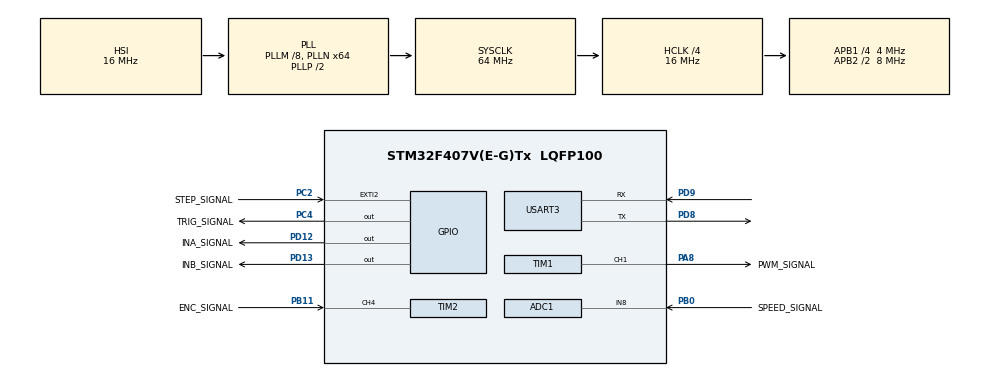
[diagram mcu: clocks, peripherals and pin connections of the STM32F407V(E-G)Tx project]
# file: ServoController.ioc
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ADC1.Channel-0\#ChannelRegularConversion=ADC_CHANNEL_8
ADC1.NbrOfConversionFlag=1
ADC1.Rank-0\#ChannelRegularConversion=1
ADC1.SamplingTime-0\#ChannelRegularConversion=ADC_SAMPLETIME_3CYCLES
ADC1.master=1
Mcu.Family=STM32F4
Mcu.Name=STM32F407V(E-G)Tx
Mcu.Package=LQFP100
NVIC.EXTI2_IRQn=true\:0\:0\:false\:false\:true\:true\:true
NVIC.PriorityGroup=NVIC_PRIORITYGROUP_4
NVIC.TIM2_IRQn=true\:0\:0\:false\:false\:true\:true\:true
NVIC.TIM4_IRQn=true\:0\:0\:false\:false\:true\:true\:true
NVIC.USART3_IRQn=true\:0\:0\:false\:false\:true\:true\:true
PA13.Mode=Serial_Wire
PA13.Signal=SYS_JTMS-SWDIO
PA14.Mode=Serial_Wire
PA14.Signal=SYS_JTCK-SWCLK
PA8.GPIO_Label=PWM_SIGNAL
PA8.Signal=S_TIM1_CH1
PB0.GPIO_Label=SPEED_SIGNAL
PB0.Signal=ADCx_IN8
PB11.GPIO_Label=ENC_SIGNAL
PB11.Signal=S_TIM2_CH4
PC2.GPIO_Label=STEP_SIGNAL
PC2.Signal=GPXTI2
PC4.GPIO_Label=TRIG_SIGNAL
PC4.Signal=GPIO_Output
PD12.GPIO_Label=INA_SIGNAL
PD12.Signal=GPIO_Output
PD13.GPIO_Label=INB_SIGNAL
PD13.Signal=GPIO_Output
PD8.Mode=Asynchronous
PD8.Signal=USART3_TX
PD9.Mode=Asynchronous
PD9.Signal=USART3_RX
ProjectManager.HeapSize=0x200
ProjectManager.StackSize=0x400
ProjectManager.TargetToolchain=MDK-ARM V5
RCC.48MHZClocksFreq_Value=32000000
RCC.AHBCLKDivider=RCC_SYSCLK_DIV4
RCC.AHBFreq_Value=16000000
RCC.APB1CLKDivider=RCC_HCLK_DIV4
RCC.APB1Freq_Value=4000000
RCC.APB1TimFreq_Value=8000000
RCC.APB2CLKDivider=RCC_HCLK_DIV2
RCC.APB2Freq_Value=8000000
RCC.APB2TimFreq_Value=16000000
RCC.CortexFreq_Value=16000000
RCC.HCLKFreq_Value=16000000
RCC.HSE_VALUE=25000000
RCC.HSI_VALUE=16000000
RCC.LSE_VALUE=32768
RCC.PLLM=8
RCC.PLLN=64
RCC.SYSCLKFreq_VALUE=64000000
RCC.SYSCLKSource=RCC_SYSCLKSOURCE_PLLCLK
RCC.VCOOutputFreq_Value=128000000
SH.ADCx_IN8.0=ADC1_IN8,IN8
SH.S_TIM1_CH1.0=TIM1_CH1,PWM Generation1 CH1
SH.S_TIM2_CH4.0=TIM2_CH4,Input_Capture4_from_TI4
TIM1.Channel-PWM\ Generation1\ CH1=TIM_CHANNEL_1
TIM1.Period=999
TIM1.Prescaler=15
TIM2.Channel-Input_Capture4_from_TI4=TIM_CHANNEL_4
TIM2.Period=65535
TIM2.Prescaler=7
TIM4.AutoReloadPreload=TIM_AUTORELOAD_PRELOAD_ENABLE
TIM4.Period=99
TIM4.Prescaler=7999
TIM4.TIM_MasterOutputTrigger=TIM_TRGO_RESET
USART3.VirtualMode=VM_ASYNC
VP_TIM1_VS_ClockSourceINT.Mode=Internal
VP_TIM2_VS_ClockSourceINT.Mode=Internal
VP_TIM4_VS_ClockSourceINT.Mode=Internal
board=custom

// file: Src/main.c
/* USER CODE BEGIN Header */
/**
  ******************************************************************************
  * @file           : main.c
  * @brief          : Main program body
  ******************************************************************************
  * @attention
  *
  * <h2><center>&copy; Copyright (c) 2019 STMicroelectronics.
  * All rights reserved.</center></h2>
  *
  * This software component is licensed by ST under BSD 3-Clause license,
  * the "License"; You may not use this file except in compliance with the
  * License. You may obtain a copy of the License at:
  *                        opensource.org/licenses/BSD-3-Clause
  *
  ******************************************************************************
  */
/* USER CODE END Header */

#include "main.h"

/* USER CODE BEGIN Includes */
#include <stdio.h>
/* USER CODE END Includes */

ADC_HandleTypeDef hadc1;

TIM_HandleTypeDef htim1;
TIM_HandleTypeDef htim2;
TIM_HandleTypeDef htim4;

UART_HandleTypeDef huart3;

/* USER CODE BEGIN PV */
int Position_Target = 0;
int Position_Current = 0;
int Step_Status = 0;
int Speed_Value = 0;
/* USER CODE END PV */

void SystemClock_Config(void);
static void MX_GPIO_Init(void);
static void MX_ADC1_Init(void);
static void MX_TIM1_Init(void);
static void MX_USART3_UART_Init(void);
static void MX_TIM2_Init(void);
static void MX_TIM4_Init(void);

/* USER CODE BEGIN 0 */
int fputc(int ch, FILE *f)
{
  return ITM_SendChar(ch);
}
/* USER CODE END 0 */

int main(void)
{

  /* MCU Configuration--------------------------------------------------------*/

  /* Reset of all peripherals, Initializes the Flash interface and the Systick. */
  HAL_Init();

  /* Configure the system clock */
  SystemClock_Config();

  /* Initialize all configured peripherals */
  MX_GPIO_Init();
  MX_ADC1_Init();
  MX_TIM1_Init();
  MX_USART3_UART_Init();
  MX_TIM2_Init();
  MX_TIM4_Init();
  /* USER CODE BEGIN 2 */
  HAL_TIM_Base_Start(&htim1);
  HAL_TIM_PWM_Stop(&htim1,TIM_CHANNEL_1);
  HAL_TIM_Base_Start(&htim2);
  HAL_TIM_IC_Start_IT(&htim2, TIM_CHANNEL_4);
  __HAL_UART_ENABLE_IT(&huart3, UART_IT_RXNE);
  /* USER CODE END 2 */

  /* Infinite loop */
  while (1)
  {

    /* USER CODE BEGIN 3 */
    Event_t evt = NONE_EVT;
    if (Step_Status != 0) {
      evt = STEP_EVT;
      Step_Status = 0;
    }
    Ctrler_Exec(evt);
    HAL_Delay(100);
  }
  /* USER CODE END 3 */
}

void SystemClock_Config(void)
{
  RCC_OscInitTypeDef RCC_OscInitStruct = {0};
  RCC_ClkInitTypeDef RCC_ClkInitStruct = {0};

  /** Configure the main internal regulator output voltage
  */
  __HAL_RCC_PWR_CLK_ENABLE();
  __HAL_PWR_VOLTAGESCALING_CONFIG(PWR_REGULATOR_VOLTAGE_SCALE1);
  /** Initializes the CPU, AHB and APB busses clocks
  */
  RCC_OscInitStruct.OscillatorType = RCC_OSCILLATORTYPE_HSI;
  RCC_OscInitStruct.HSIState = RCC_HSI_ON;
  RCC_OscInitStruct.HSICalibrationValue = RCC_HSICALIBRATION_DEFAULT;
  RCC_OscInitStruct.PLL.PLLState = RCC_PLL_ON;
  RCC_OscInitStruct.PLL.PLLSource = RCC_PLLSOURCE_HSI;
  RCC_OscInitStruct.PLL.PLLM = 8;
  RCC_OscInitStruct.PLL.PLLN = 64;
  RCC_OscInitStruct.PLL.PLLP = RCC_PLLP_DIV2;
  RCC_OscInitStruct.PLL.PLLQ = 4;
  if (HAL_RCC_OscConfig(&RCC_OscInitStruct) != HAL_OK)
  {
    Error_Handler();
  }
  /** Initializes the CPU, AHB and APB busses clocks
  */
  RCC_ClkInitStruct.ClockType = RCC_CLOCKTYPE_HCLK|RCC_CLOCKTYPE_SYSCLK
                              |RCC_CLOCKTYPE_PCLK1|RCC_CLOCKTYPE_PCLK2;
  RCC_ClkInitStruct.SYSCLKSource = RCC_SYSCLKSOURCE_PLLCLK;
  RCC_ClkInitStruct.AHBCLKDivider = RCC_SYSCLK_DIV4;
  RCC_ClkInitStruct.APB1CLKDivider = RCC_HCLK_DIV4;
  RCC_ClkInitStruct.APB2CLKDivider = RCC_HCLK_DIV2;

  if (HAL_RCC_ClockConfig(&RCC_ClkInitStruct, FLASH_LATENCY_0) != HAL_OK)
  {
    Error_Handler();
  }
}

static void MX_ADC1_Init(void)
{

  ADC_ChannelConfTypeDef sConfig = {0};

  /** Configure the global features of the ADC (Clock, Resolution, Data Alignment and number of conversion)
  */
  hadc1.Instance = ADC1;
  hadc1.Init.ClockPrescaler = ADC_CLOCK_SYNC_PCLK_DIV2;
  hadc1.Init.Resolution = ADC_RESOLUTION_12B;
  hadc1.Init.ScanConvMode = DISABLE;
  hadc1.Init.ContinuousConvMode = DISABLE;
  hadc1.Init.DiscontinuousConvMode = DISABLE;
  hadc1.Init.ExternalTrigConvEdge = ADC_EXTERNALTRIGCONVEDGE_NONE;
  hadc1.Init.ExternalTrigConv = ADC_SOFTWARE_START;
  hadc1.Init.DataAlign = ADC_DATAALIGN_RIGHT;
  hadc1.Init.NbrOfConversion = 1;
  hadc1.Init.DMAContinuousRequests = DISABLE;
  hadc1.Init.EOCSelection = ADC_EOC_SINGLE_CONV;
  if (HAL_ADC_Init(&hadc1) != HAL_OK)
  {
    Error_Handler();
  }
  /** Configure for the selected ADC regular channel its corresponding rank in the sequencer and its sample time.
  */
  sConfig.Channel = ADC_CHANNEL_8;
  sConfig.Rank = 1;
  sConfig.SamplingTime = ADC_SAMPLETIME_3CYCLES;
  if (HAL_ADC_ConfigChannel(&hadc1, &sConfig) != HAL_OK)
  {
    Error_Handler();
  }

}

static void MX_TIM1_Init(void)
{

  TIM_ClockConfigTypeDef sClockSourceConfig = {0};
  TIM_MasterConfigTypeDef sMasterConfig = {0};
  TIM_OC_InitTypeDef sConfigOC = {0};
  TIM_BreakDeadTimeConfigTypeDef sBreakDeadTimeConfig = {0};

  htim1.Instance = TIM1;
  htim1.Init.Prescaler = 15;
  htim1.Init.CounterMode = TIM_COUNTERMODE_UP;
  htim1.Init.Period = 999;
  htim1.Init.ClockDivision = TIM_CLOCKDIVISION_DIV1;
  htim1.Init.RepetitionCounter = 0;
  htim1.Init.AutoReloadPreload = TIM_AUTORELOAD_PRELOAD_DISABLE;
  if (HAL_TIM_Base_Init(&htim1) != HAL_OK)
  {
    Error_Handler();
  }
  sClockSourceConfig.ClockSource = TIM_CLOCKSOURCE_INTERNAL;
  if (HAL_TIM_ConfigClockSource(&htim1, &sClockSourceConfig) != HAL_OK)
  {
    Error_Handler();
  }
  if (HAL_TIM_PWM_Init(&htim1) != HAL_OK)
  {
    Error_Handler();
  }
  sMasterConfig.MasterOutputTrigger = TIM_TRGO_RESET;
  sMasterConfig.MasterSlaveMode = TIM_MASTERSLAVEMODE_DISABLE;
  if (HAL_TIMEx_MasterConfigSynchronization(&htim1, &sMasterConfig) != HAL_OK)
  {
    Error_Handler();
  }
  sConfigOC.OCMode = TIM_OCMODE_PWM1;
  sConfigOC.Pulse = 0;
  sConfigOC.OCPolarity = TIM_OCPOLARITY_HIGH;
  sConfigOC.OCNPolarity = TIM_OCNPOLARITY_HIGH;
  sConfigOC.OCFastMode = TIM_OCFAST_DISABLE;
  sConfigOC.OCIdleState = TIM_OCIDLESTATE_RESET;
  sConfigOC.OCNIdleState = TIM_OCNIDLESTATE_RESET;
  if (HAL_TIM_PWM_ConfigChannel(&htim1, &sConfigOC, TIM_CHANNEL_1) != HAL_OK)
  {
    Error_Handler();
  }
  sBreakDeadTimeConfig.OffStateRunMode = TIM_OSSR_DISABLE;
  sBreakDeadTimeConfig.OffStateIDLEMode = TIM_OSSI_DISABLE;
  sBreakDeadTimeConfig.LockLevel = TIM_LOCKLEVEL_OFF;
  sBreakDeadTimeConfig.DeadTime = 0;
  sBreakDeadTimeConfig.BreakState = TIM_BREAK_DISABLE;
  sBreakDeadTimeConfig.BreakPolarity = TIM_BREAKPOLARITY_HIGH;
  sBreakDeadTimeConfig.AutomaticOutput = TIM_AUTOMATICOUTPUT_DISABLE;
  if (HAL_TIMEx_ConfigBreakDeadTime(&htim1, &sBreakDeadTimeConfig) != HAL_OK)
  {
    Error_Handler();
  }
  HAL_TIM_MspPostInit(&htim1);

}

static void MX_TIM2_Init(void)
{

  TIM_ClockConfigTypeDef sClockSourceConfig = {0};
  TIM_MasterConfigTypeDef sMasterConfig = {0};
  TIM_IC_InitTypeDef sConfigIC = {0};

  htim2.Instance = TIM2;
  htim2.Init.Prescaler = 7;
  htim2.Init.CounterMode = TIM_COUNTERMODE_UP;
  htim2.Init.Period = 65535;
  htim2.Init.ClockDivision = TIM_CLOCKDIVISION_DIV1;
  htim2.Init.AutoReloadPreload = TIM_AUTORELOAD_PRELOAD_DISABLE;
  if (HAL_TIM_Base_Init(&htim2) != HAL_OK)
  {
    Error_Handler();
  }
  sClockSourceConfig.ClockSource = TIM_CLOCKSOURCE_INTERNAL;
  if (HAL_TIM_ConfigClockSource(&htim2, &sClockSourceConfig) != HAL_OK)
  {
    Error_Handler();
  }
  if (HAL_TIM_IC_Init(&htim2) != HAL_OK)
  {
    Error_Handler();
  }
  sMasterConfig.MasterOutputTrigger = TIM_TRGO_RESET;
  sMasterConfig.MasterSlaveMode = TIM_MASTERSLAVEMODE_DISABLE;
  if (HAL_TIMEx_MasterConfigSynchronization(&htim2, &sMasterConfig) != HAL_OK)
  {
    Error_Handler();
  }
  sConfigIC.ICPolarity = TIM_INPUTCHANNELPOLARITY_RISING;
  sConfigIC.ICSelection = TIM_ICSELECTION_DIRECTTI;
  sConfigIC.ICPrescaler = TIM_ICPSC_DIV1;
  sConfigIC.ICFilter = 0;
  if (HAL_TIM_IC_ConfigChannel(&htim2, &sConfigIC, TIM_CHANNEL_4) != HAL_OK)
  {
    Error_Handler();
  }

}

static void MX_TIM4_Init(void)
{

  TIM_ClockConfigTypeDef sClockSourceConfig = {0};
  TIM_MasterConfigTypeDef sMasterConfig = {0};

  htim4.Instance = TIM4;
  htim4.Init.Prescaler = 7999;
  htim4.Init.CounterMode = TIM_COUNTERMODE_UP;
  htim4.Init.Period = 99;
  htim4.Init.ClockDivision = TIM_CLOCKDIVISION_DIV1;
  htim4.Init.AutoReloadPreload = TIM_AUTORELOAD_PRELOAD_ENABLE;
  if (HAL_TIM_Base_Init(&htim4) != HAL_OK)
  {
    Error_Handler();
  }
  sClockSourceConfig.ClockSource = TIM_CLOCKSOURCE_INTERNAL;
  if (HAL_TIM_ConfigClockSource(&htim4, &sClockSourceConfig) != HAL_OK)
  {
    Error_Handler();
  }
  sMasterConfig.MasterOutputTrigger = TIM_TRGO_RESET;
  sMasterConfig.MasterSlaveMode = TIM_MASTERSLAVEMODE_DISABLE;
  if (HAL_TIMEx_MasterConfigSynchronization(&htim4, &sMasterConfig) != HAL_OK)
  {
    Error_Handler();
  }

}

static void MX_USART3_UART_Init(void)
{

  huart3.Instance = USART3;
  huart3.Init.BaudRate = 115200;
  huart3.Init.WordLength = UART_WORDLENGTH_8B;
  huart3.Init.StopBits = UART_STOPBITS_1;
  huart3.Init.Parity = UART_PARITY_NONE;
  huart3.Init.Mode = UART_MODE_TX_RX;
  huart3.Init.HwFlowCtl = UART_HWCONTROL_NONE;
  huart3.Init.OverSampling = UART_OVERSAMPLING_16;
  if (HAL_UART_Init(&huart3) != HAL_OK)
  {
    Error_Handler();
  }

}

static void MX_GPIO_Init(void)
{
  GPIO_InitTypeDef GPIO_InitStruct = {0};

  /* GPIO Ports Clock Enable */
  __HAL_RCC_GPIOC_CLK_ENABLE();
  __HAL_RCC_GPIOB_CLK_ENABLE();
  __HAL_RCC_GPIOD_CLK_ENABLE();
  __HAL_RCC_GPIOA_CLK_ENABLE();

  /*Configure GPIO pin Output Level */
  HAL_GPIO_WritePin(TRIG_SIGNAL_GPIO_Port, TRIG_SIGNAL_Pin, GPIO_PIN_RESET);

  /*Configure GPIO pin Output Level */
  HAL_GPIO_WritePin(GPIOD, INA_SIGNAL_Pin|INB_SIGNAL_Pin, GPIO_PIN_RESET);

  /*Configure GPIO pin : STEP_SIGNAL_Pin */
  GPIO_InitStruct.Pin = STEP_SIGNAL_Pin;
  GPIO_InitStruct.Mode = GPIO_MODE_IT_RISING;
  GPIO_InitStruct.Pull = GPIO_NOPULL;
  HAL_GPIO_Init(STEP_SIGNAL_GPIO_Port, &GPIO_InitStruct);

  /*Configure GPIO pin : TRIG_SIGNAL_Pin */
  GPIO_InitStruct.Pin = TRIG_SIGNAL_Pin;
  GPIO_InitStruct.Mode = GPIO_MODE_OUTPUT_PP;
  GPIO_InitStruct.Pull = GPIO_NOPULL;
  GPIO_InitStruct.Speed = GPIO_SPEED_FREQ_LOW;
  HAL_GPIO_Init(TRIG_SIGNAL_GPIO_Port, &GPIO_InitStruct);

  /*Configure GPIO pins : INA_SIGNAL_Pin INB_SIGNAL_Pin */
  GPIO_InitStruct.Pin = INA_SIGNAL_Pin|INB_SIGNAL_Pin;
  GPIO_InitStruct.Mode = GPIO_MODE_OUTPUT_PP;
  GPIO_InitStruct.Pull = GPIO_NOPULL;
  GPIO_InitStruct.Speed = GPIO_SPEED_FREQ_LOW;
  HAL_GPIO_Init(GPIOD, &GPIO_InitStruct);

  /* EXTI interrupt init*/
  HAL_NVIC_SetPriority(EXTI2_IRQn, 0, 0);
  HAL_NVIC_EnableIRQ(EXTI2_IRQn);

}

void Error_Handler(void)
{
}

/************************ (C) COPYRIGHT STMicroelectronics *****END OF FILE****/
